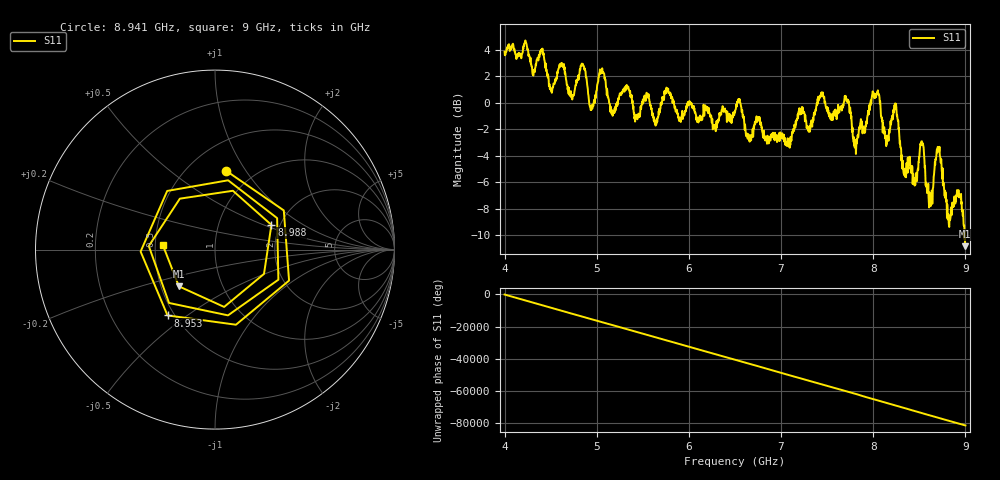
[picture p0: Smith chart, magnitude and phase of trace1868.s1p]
! Created with skrf 1.8.0 (http://scikit-rf.org).
# Hz S RI R 50.0
!freq ReS11 ImS11
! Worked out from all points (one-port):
!   1601 points, 4 GHz to 9 GHz, reference 50 ohm
!   lowest |S11| = -10.8 dB at 8.997 GHz (marker M1), VSWR 1.81, Z = 30.9 - j13.8 ohm
!   |S11| at or under -10 dB: 8.990068 GHz to 8.992873 GHz (2.805 MHz wide, 0.0312 % of centre); 8.994559 GHz to end of sweep
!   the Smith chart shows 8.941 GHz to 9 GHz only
!   S11 on the Smith chart (normalised r, x): 8.941 GHz: 0.75, +0.82; 8.953 GHz: 0.46, -0.42; 8.988 GHz: 1.80, +0.56; 9 GHz: 0.55, +0.03
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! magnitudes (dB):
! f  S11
! 4 GHz  3.8
! 4.406 GHz  3.9
! 4.506 GHz  0.9
! 4.625 GHz  2.9
! 4.728 GHz  0.4
! 4.853 GHz  2.8
! 4.941 GHz  -0.6
! 5.05 GHz  2.3
! 5.25 GHz  0.7
! 5.875 GHz  -0.9
! 6.5 GHz  -0.7
! 7.125 GHz  -2.2
! 7.434 GHz  0.7
! 7.75 GHz  -0.4
! 7.803 GHz  -3.0
! 8.012 GHz  0.3
! 8.141 GHz  -3.3
! 8.241 GHz  -0.2
! 8.375 GHz  -4.2
! 8.528 GHz  -2.9
! 8.625 GHz  -7.5
! 8.706 GHz  -3.6
! 8.816 GHz  -8.4
! 8.941 GHz  -7.1
! 8.953 GHz  -6.9
! 8.988 GHz  -9.3
! 8.997 GHz  -10.8
! 9 GHz  -10.7
